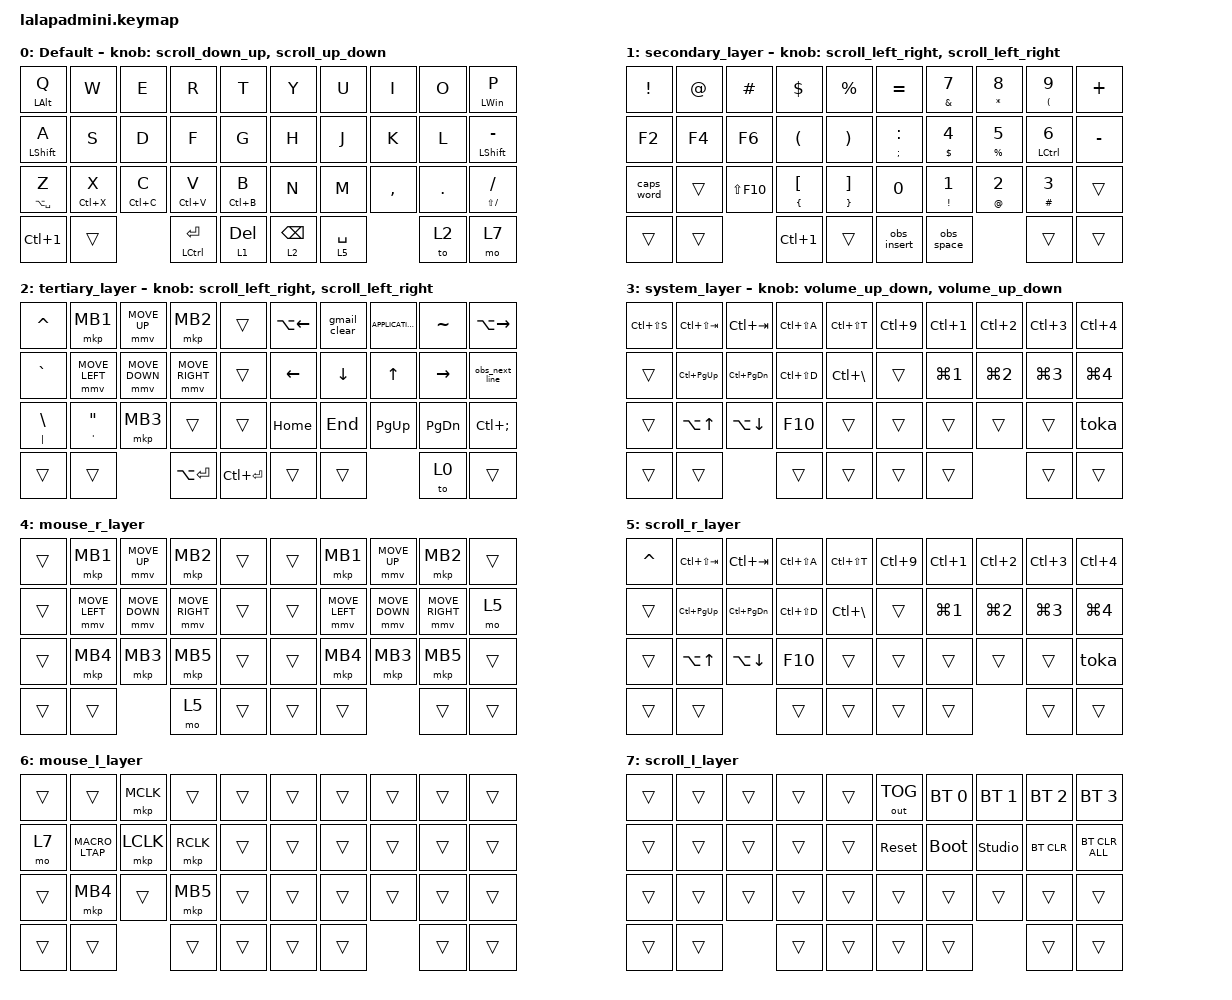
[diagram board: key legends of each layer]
#include <input/processors.dtsi>
#include <behaviors.dtsi>
#include <dt-bindings/zmk/bt.h>
#include <dt-bindings/zmk/keys.h>
#include <dt-bindings/zmk/outputs.h>
#include <dt-bindings/zmk/pointing.h>

#define DEFAULT_LAYER   0
#define SECONDARY_LAYER 1
#define TERTIARY_LAYER  2
#define SYSTEM_LAYER    3
#define MOUSE_R_LAYER   4
#define SCROLL_R_LAYER  5
#define MOUSE_L_LAYER   6
#define SCROLL_L_LAYER  7

// Mouse Scroll Value

#define ZMK_POINTING_DEFAULT_SCRL_VAL 100
#define ZMK_POINTING_DEFAULT_MOVE_VAL 3500 // default: 600 -> 100 -> 1500 -> 2500 -> 3500

// cirque trackpad input&layer control

&glidepoint_listener_R {
    input-processors =
        <&zip_xy_transform (INPUT_TRANSFORM_XY_SWAP | INPUT_TRANSFORM_X_INVERT | INPUT_TRANSFORM_Y_INVERT)>,
        <&zip_xy_scaler 3 2>,
        <&zip_temp_layer MOUSE_R_LAYER 300>;

    lowspeedmode {
        layers = <SECONDARY_LAYER>;
        input-processors =
            <&zip_xy_transform (INPUT_TRANSFORM_XY_SWAP | INPUT_TRANSFORM_X_INVERT | INPUT_TRANSFORM_Y_INVERT)>,
            <&zip_xy_scaler 3 5>,
            <&zip_temp_layer MOUSE_R_LAYER 300>;
    };

    scroller {
        layers = <SCROLL_R_LAYER>;
        input-processors =
            <&zip_xy_to_scroll_mapper>,
            <&zip_scroll_transform (INPUT_TRANSFORM_XY_SWAP | INPUT_TRANSFORM_Y_INVERT)>,
            <&zip_scroll_scaler 1 32>;
    };
};

&glidepoint_listener_L {
    input-processors =
        <&zip_xy_transform (INPUT_TRANSFORM_XY_SWAP | INPUT_TRANSFORM_X_INVERT | INPUT_TRANSFORM_Y_INVERT)>,
        <&zip_xy_scaler 3 2>,
        <&zip_temp_layer MOUSE_L_LAYER 300>;

    lowspeedmode {
        layers = <TERTIARY_LAYER>;
        input-processors =
            <&zip_xy_transform (INPUT_TRANSFORM_XY_SWAP | INPUT_TRANSFORM_X_INVERT | INPUT_TRANSFORM_Y_INVERT)>,
            <&zip_xy_scaler 3 4>,
            <&zip_temp_layer MOUSE_L_LAYER 300>;
    };

    scroller {
        layers = <SCROLL_L_LAYER>;
        input-processors =
            <&zip_xy_to_scroll_mapper>,
            <&zip_scroll_transform (INPUT_TRANSFORM_XY_SWAP | INPUT_TRANSFORM_Y_INVERT)>,
            <&zip_scroll_scaler 1 32>;
    };
};

&mt {
    quick-tap-ms = <200>;
    flavor = "balanced";
};

&lt { tapping-term-ms = <140>; };

/ {
    behaviors {
        // Encoder to Mouse Scroll

        scroll_up_down: behavior_sensor_rotate_mouse_wheel_up_down {
            compatible = "zmk,behavior-sensor-rotate";
            #sensor-binding-cells = <0>;
            bindings = <&msc SCRL_UP>, <&msc SCRL_DOWN>;

            tap-ms = <20>;
        };

        scroll_down_up: behavior_sensor_rotate_mouse_wheel_down_up {
            compatible = "zmk,behavior-sensor-rotate";
            #sensor-binding-cells = <0>;
            bindings = <&msc SCRL_DOWN>, <&msc SCRL_UP>;

            tap-ms = <20>;
        };

        scroll_left_right: behavior_sensor_rotate_mouse_wheel_left_right {
            compatible = "zmk,behavior-sensor-rotate";
            #sensor-binding-cells = <0>;
            bindings = <&msc SCRL_LEFT>, <&msc SCRL_RIGHT>;

            tap-ms = <20>;
        };

        scroll_right_left: behavior_sensor_rotate_mouse_wheel_right_left {
            compatible = "zmk,behavior-sensor-rotate";
            #sensor-binding-cells = <0>;
            bindings = <&msc SCRL_RIGHT>, <&msc SCRL_LEFT>;

            tap-ms = <20>;
        };

        volume_up_down: behavior_sensor_rotate_volume_up_down {
            compatible = "zmk,behavior-sensor-rotate";
            #sensor-binding-cells = <0>;
            bindings = <&kp C_VOLUME_UP>, <&kp C_VOLUME_DOWN>;

            tap-ms = <20>;
        };

        mt2: mod_tap2 {
            compatible = "zmk,behavior-hold-tap";
            #binding-cells = <2>;
            flavor = "tap-preferred";
            tapping-term-ms = <160>;
            quick-tap-ms = <160>;
            require-prior-idle-ms = <125>;
            bindings = <&kp>, <&kp>;
        };

        tap_dance_layer_1and2: tap_dance_layer_1and2 {
            compatible = "zmk,behavior-tap-dance";
            label = "td_mo12";
            #binding-cells = <0>;
            bindings = <&mo 1>, <&mo 2>;
        };
    };

    combos {
        compatible = "zmk,combos";

        CONBO_ESC {
            bindings = <&kp ESCAPE>;
            key-positions = <11 12>;
        };

        COMBO_TAB {
            bindings = <&kp TAB>;
            key-positions = <10 11>;
        };

        COMBO_WIN {
            bindings = <&kp LWIN>;
            key-positions = <30 31>;
        };

        my_esc_2 {
            bindings = <&esc_2>;
            key-positions = <17 18>;
        };

        my_Win+Tab {
            bindings = <&kp LG(TAB)>;
            key-positions = <2 1>;
        };

        my_Alt+Tab {
            bindings = <&kp LA(TAB)>;
            key-positions = <21 22>;
        };

        my_Tab {
            bindings = <&kp TAB>;
            key-positions = <12 13>;
        };

        my_obs_fix2 {
            bindings = <&obs_fix2>;
            key-positions = <16 17>;
        };

        my_kanji {
            bindings = <&kp LC(SPACE)>;
            key-positions = <7 8>;
        };
    };

    macros {
        MACRO_LTAP: MACRO_LTAP {
            compatible = "zmk,behavior-macro";
            #binding-cells = <0>;
            bindings = <&mkp LCLK>;
            label = "MACRO_LTAP";
        };

        esc_2: esc_2 {
            compatible = "zmk,behavior-macro";
            #binding-cells = <0>;
            bindings = <&kp ESCAPE>, <&macro_wait_time 300>, <&kp ESCAPE>;

            label = "ESC_2";
        };

        obs_next_line: obs_next_line {
            compatible = "zmk,behavior-macro";
            #binding-cells = <0>;
            bindings = <&kp ESCAPE &kp I &kp RET &kp ESCAPE &kp UP &kp END>;
            label = "OBS_NEXT_LINE";
        };

        obs_fix: obs_fix {
            compatible = "zmk,behavior-macro";
            #binding-cells = <0>;
            bindings = <&kp RET &kp ESCAPE &kp ESCAPE &kp DOWN &kp HOME>;
            label = "OBS_FIX";
        };

        toka: toka {
            compatible = "zmk,behavior-macro";
            #binding-cells = <0>;
            bindings = <&kp LS(T) &kp O &kp K &kp A &kp UNDER &kp NUMBER_0 &kp NUMBER_0 &kp NUMBER_9 &kp NUMBER_2 &kp NUMBER_1 &kp RET>;
            label = "TOKA";
        };

        gmail_clear: gmail_clear {
            compatible = "zmk,behavior-macro";
            #binding-cells = <0>;
            bindings = <&kp ESCAPE &kp ESCAPE &kp G &kp I &kp G &kp I>;
            label = "GMAIL_CLEAR";
        };

        obs_insert: obs_insert {
            compatible = "zmk,behavior-macro";
            #binding-cells = <0>;
            bindings = <&kp ESCAPE &kp ESCAPE &kp A &kp LC(SPACE)>;
            label = "OBS_INSERT";
        };

        obs_space: obs_space {
            compatible = "zmk,behavior-macro";
            #binding-cells = <0>;
            bindings = <&kp ESCAPE &kp I &kp SPACE &kp ESCAPE>;
            label = "OBS_SPACE";
        };

        obs_fix2: obs_fix2 {
            compatible = "zmk,behavior-macro";
            #binding-cells = <0>;
            bindings = <&kp RET &kp ESCAPE &kp ESCAPE>;
            label = "OBS_FIX2";
        };
    };

    behaviors {
    };

    keymap {
        compatible = "zmk,keymap";

        DEFAULT_LAYER {
            display-name = "Default";
            sensor-bindings = <&scroll_down_up>, <&scroll_up_down>;

            bindings = <
&mt LEFT_ALT Q     &kp W        &kp E        &kp R             &kp T         &kp Y            &kp U        &kp I      &kp O       &mt LEFT_WIN P
&mt2 LEFT_SHIFT A  &kp S        &kp D        &kp F             &kp G         &kp H            &kp J        &kp K      &kp L       &mt LEFT_SHIFT MINUS
&mt LA(SPACE) Z    &mt LC(X) X  &mt LC(C) C  &mt LC(V) V       &mt LC(B) B   &kp N            &kp M        &kp COMMA  &kp PERIOD  &mt LS(SLASH) SLASH
&kp LC(N1)         &trans                    &mt2 LCTRL ENTER  &lt 1 DELETE  &lt 2 BACKSPACE  &lt 5 SPACE             &to 2       &mo 7
            >;
        };

        SECONDARY_LAYER {
            display-name = "secondary_layer";
            sensor-bindings = <&scroll_left_right>, <&scroll_left_right>;

            bindings = <
&kp EXCLAMATION  &kp AT_SIGN  &kp HASH     &kp DOLLAR                   &kp PERCENT                    &kp EQUAL            &mt AMPERSAND NUMBER_7    &mt ASTERISK NUMBER_8  &mt LEFT_PARENTHESIS NUMBER_9  &kp PLUS
&kp F2           &kp F4       &kp F6       &kp LEFT_PARENTHESIS         &kp RIGHT_PARENTHESIS          &mt SEMICOLON COLON  &mt DOLLAR NUMBER_4       &mt PERCENT NUMBER_5   &mt LCTRL NUMBER_6             &kp MINUS
&caps_word       &trans       &kp LS(F10)  &mt LEFT_BRACE LEFT_BRACKET  &mt RIGHT_BRACE RIGHT_BRACKET  &kp NUMBER_0         &mt EXCLAMATION NUMBER_1  &mt AT_SIGN NUMBER_2   &mt HASH NUMBER_3              &trans
&trans           &trans                    &kp LC(NUMBER_1)             &trans                         &obs_insert          &obs_space                                       &trans                         &trans
            >;
        };

        TERTIARY_LAYER {
            display-name = "tertiary_layer";
            bindings = <
&kp CARET      &mkp MB1               &mmv MOVE_UP    &mkp MB2         &trans         &kp LA(LEFT)  &gmail_clear  &kp K_APPLICATION  &kp TILDE      &kp LA(RIGHT)
&kp GRAVE      &mmv MOVE_LEFT         &mmv MOVE_DOWN  &mmv MOVE_RIGHT  &trans         &kp LEFT      &kp DOWN      &kp UP             &kp RIGHT      &obs_next_line
&mt PIPE BSLH  &mt SQT DOUBLE_QUOTES  &mkp MB3        &trans           &trans         &kp HOME      &kp END       &kp PAGE_UP        &kp PAGE_DOWN  &kp LC(SEMICOLON)
&trans         &trans                                 &kp LA(ENTER)    &kp LC(ENTER)  &trans        &trans                           &to 0          &trans
            >;

            sensor-bindings = <&scroll_left_right>, <&scroll_left_right>;
        };

        SYSTEM_LAYER {
            display-name = "system_layer";
            sensor-bindings = <&volume_up_down>, <&volume_up_down>;

            bindings = <
&kp LC(LS(S))  &kp LC(LS(TAB))  &kp LC(TAB)        &kp LC(LS(A))  &kp LC(LS(T))      &kp LC(NUMBER_9)  &kp LC(NUMBER_1)  &kp LC(NUMBER_2)  &kp LC(NUMBER_3)  &kp LC(NUMBER_4)
&trans         &kp LC(PG_UP)    &kp LC(PAGE_DOWN)  &kp LC(LS(D))  &kp LC(BACKSLASH)  &trans            &kp LG(NUMBER_1)  &kp LG(NUMBER_2)  &kp LG(NUMBER_3)  &kp LG(NUMBER_4)
&trans         &kp LA(UP)       &kp LA(DOWN)       &kp F10        &trans             &trans            &trans            &trans            &trans            &toka
&trans         &trans                              &trans         &trans             &trans            &trans                              &trans            &trans
            >;
        };

        MOUSE_R_LAYER {
            display-name = "mouse_r_layer";
            bindings = <
&trans  &mkp MB1        &mmv MOVE_UP    &mkp MB2         &trans  &trans  &mkp MB1        &mmv MOVE_UP    &mkp MB2         &trans
&trans  &mmv MOVE_LEFT  &mmv MOVE_DOWN  &mmv MOVE_RIGHT  &trans  &trans  &mmv MOVE_LEFT  &mmv MOVE_DOWN  &mmv MOVE_RIGHT  &mo 5
&trans  &mkp MB4        &mkp MB3        &mkp MB5         &trans  &trans  &mkp MB4        &mkp MB3        &mkp MB5         &trans
&trans  &trans                          &mo 5            &trans  &trans  &trans                          &trans           &trans
            >;
        };

        SCROLL_R_LAYER {
            display-name = "scroll_r_layer";
            bindings = <
&kp CARET  &kp LC(LS(TAB))  &kp LC(TAB)        &kp LC(LS(A))  &kp LC(LS(T))      &kp LC(N9)  &kp LC(N1)  &kp LC(N2)  &kp LC(N3)  &kp LC(N4)
&trans     &kp LC(PG_UP)    &kp LC(PAGE_DOWN)  &kp LC(LS(D))  &kp LC(BACKSLASH)  &trans      &kp LG(N1)  &kp LG(N2)  &kp LG(N3)  &kp LG(N4)
&trans     &kp LA(UP)       &kp LA(DOWN)       &kp F10        &trans             &trans      &trans      &trans      &trans      &toka
&trans     &trans                              &trans         &trans             &trans      &trans                  &trans      &trans
            >;
        };

        MOUSE_L_LAYER {
            display-name = "mouse_l_layer";
            bindings = <
&trans  &trans       &mkp MCLK  &trans     &trans  &trans  &trans  &trans  &trans  &trans
&mo 7   &MACRO_LTAP  &mkp LCLK  &mkp RCLK  &trans  &trans  &trans  &trans  &trans  &trans
&trans  &mkp MB4     &trans     &mkp MB5   &trans  &trans  &trans  &trans  &trans  &trans
&trans  &trans                  &trans     &trans  &trans  &trans          &trans  &trans
            >;
        };

        SCROLL_L_LAYER {
            display-name = "scroll_l_layer";
            bindings = <
&trans  &trans  &trans  &trans  &trans  &out OUT_TOG  &bt BT_SEL 0  &bt BT_SEL 1    &bt BT_SEL 2  &bt BT_SEL 3
&trans  &trans  &trans  &trans  &trans  &sys_reset    &bootloader   &studio_unlock  &bt BT_CLR    &bt BT_CLR_ALL
&trans  &trans  &trans  &trans  &trans  &trans        &trans        &trans          &trans        &trans
&trans  &trans          &trans  &trans  &trans        &trans                        &trans        &trans
            >;
        };
    };

    conditional_layers {
        compatible = "zmk,conditional-layers";

        System_layer {
            if-layers = <1 2>;
            then-layer = <3>;
        };
    };
};
